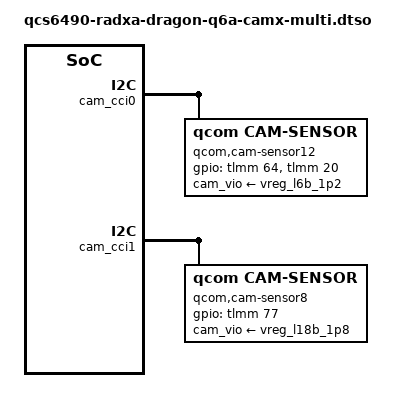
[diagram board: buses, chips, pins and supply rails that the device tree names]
// SPDX-License-Identifier: BSD-3-Clause
/*
 * Copyright (c) 2025 Radxa Computer (Shenzhen) Co., Ltd.
 */

/dts-v1/;
/plugin/;

#include "qcs6490-radxa-dragon-q6a-camx-common.dtsi"

/ {
	metadata {
		title = "Enable CAM1 + CAM2 on Qualcomm CAMX hardware ISP";
		compatible = "radxa,dragon-q6a";
		category = "camera";
		exclusive = "cci0", "cci1", "camss", "camx-isp", "cci0_i2c0", "cci1_i2c0", "cci1_i2c1";
		description = "Enable CAM1 (slot 12, CSIPHY0, CCI0) and CAM2 (two-lane, slot 8, CSIPHY2, CCI1) together on the Qualcomm CAMX hardware ISP. CAM2 is clocked by its module-local 24 MHz oscillator, the default for CAM2 camera modules. Self-contained: this single overlay carries the shared CAMX infrastructure and every sensor node, so do not enable cam0-camx-common or the per-camera CAMX overlays at the same time. The sensor model is selected by the sensor module bins for slot 12 and slot 8.";
	};
};

/* CAM1: CSIPHY0, CCI0 master 0, MCLK0 (GPIO64), reset GPIO20.
 * The sensor module bin selects sensor identification and operating modes. */
&cam_cci0 {
	qcom,cam-sensor12 {
		compatible = "qcom,cam-sensor";
		cell-index = <12>;
		csiphy-sd-index = <0>;
		sensor-position-roll = <0>;
		sensor-position-pitch = <0>;
		sensor-position-yaw = <180>;
		cam_vio-supply = <&vreg_l6b_1p2>;
		regulator-names = "cam_vio";
		power-domains = <&camcc CAM_CC_TITAN_TOP_GDSC>;
		rgltr-cntrl-support;
		rgltr-min-voltage = <1200000>;
		rgltr-max-voltage = <1200000>;
		rgltr-load-current = <120000>;
		gpio-no-mux = <0>;
		pinctrl-names = "cam_default", "cam_suspend";
		pinctrl-0 = <&cam_sensor_mclk0_active &cam_sensor_active_rst0>;
		pinctrl-1 = <&cam_sensor_mclk0_suspend &cam_sensor_suspend_rst0>;
		gpios = <&tlmm 64 0>, <&tlmm 20 0>;
		gpio-reset = <1>;
		gpio-req-tbl-num = <0 1>;
		gpio-req-tbl-flags = <1 0>;
		gpio-req-tbl-label = "CAM_MCLK0", "CAM_RESET0";
		sensor-mode = <0>;
		cci-master = <0>;
		clocks = <&camcc CAM_CC_MCLK0_CLK>;
		clock-names = "cam_clk";
		clock-cntl-level = "nominal";
		clock-rates = <24000000>;
		status = "ok";
	};
};

&{/} {
	/* CAM2 modules carry their own 24 MHz oscillator and take no MCLK from the
	 * SoC, so this is a fixed clock describing the module INCK. 24 MHz is the
	 * default for CAM2 modules; a module with a different INCK needs its own
	 * overlay carrying that frequency. 
	*/
	cam2_xclk: cam2-xclk {
		compatible = "fixed-clock";
		#clock-cells = <0>;
		clock-frequency = <24000000>;
		clock-output-names = "cam2_xclk"
	};
};

/* CAM2: CSIPHY2, CCI1 master 0, module-local 24 MHz clock, reset GPIO77.
 * The sensor module bin for slot 8 must match the installed module, including
 * its 24 MHz INCK. */
&cam_cci1 {
	qcom,cam-sensor8 {
		compatible = "qcom,cam-sensor";
		cell-index = <8>;
		csiphy-sd-index = <2>;
		sensor-position-roll = <0>;
		sensor-position-pitch = <0>;
		sensor-position-yaw = <180>;
		cam_vio-supply = <&vreg_l18b_1p8>;
		regulator-names = "cam_vio";
		power-domains = <&camcc CAM_CC_TITAN_TOP_GDSC>;
		rgltr-cntrl-support;
		pwm-switch;
		rgltr-min-voltage = <1800000>;
		rgltr-max-voltage = <1800000>;
		rgltr-load-current = <120000>;
		gpio-no-mux = <0>;
		pinctrl-names = "cam_default", "cam_suspend";
		pinctrl-0 = <&cam_sensor_active_rst2>;
		pinctrl-1 = <&cam_sensor_suspend_rst2>;
		gpios = <&tlmm 77 0>;
		gpio-reset = <0>;
		gpio-req-tbl-num = <0>;
		gpio-req-tbl-flags = <0>;
		gpio-req-tbl-label = "CAM_RESET2";
		sensor-mode = <0>;
		cci-master = <0>;
		clocks = <&cam2_xclk>;
		clock-names = "cam_clk";
		clock-cntl-level = "nominal";
		clock-rates = <24000000>;
		status = "ok";
	};
};
